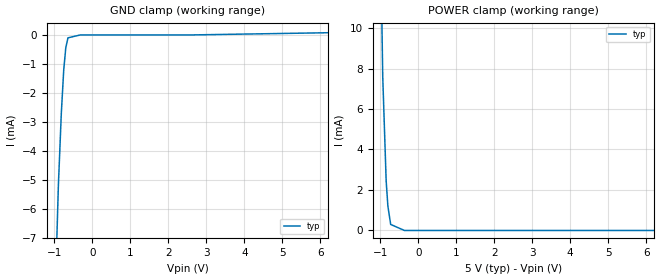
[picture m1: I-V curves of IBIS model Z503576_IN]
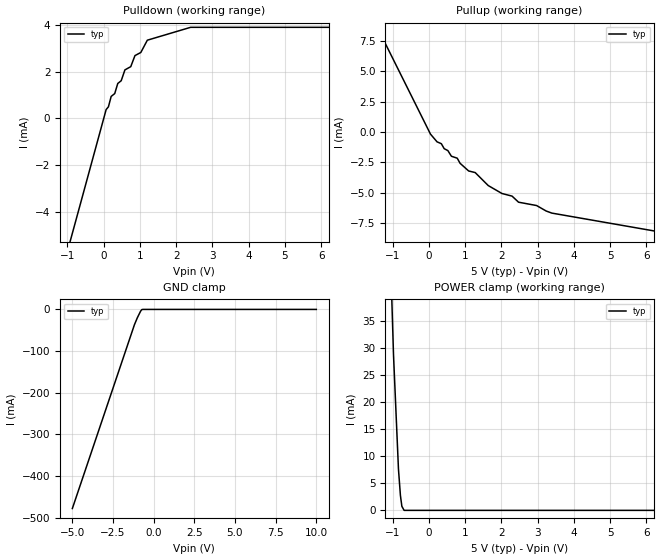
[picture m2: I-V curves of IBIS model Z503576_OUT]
| YOU ARE ONLY AUTHORIZED TO USE THIS SOFTWARE
| ACCORDING TO LICENSOR'S LICENSE RESTRICTIONS.
[IBIS Ver] 3.1
[File Name] mc14093bcl.ibs
[File Rev] 2.0
[Source] Measured and created by ICX Technology
[Date] Friday 7/14/00 9:07:53 AM
[Copyright]
| (C) COPYRIGHT 1993-2000
| MENTOR GRAPHICS CORPORATION
| ICX STANDARD LIBRARY, ICX PROJECT MODELING,
| ICX CUSTOM MODELING, ICX VENDOR MODEL
| ALL RIGHTS RESERVED.
| THE FOLLOWING ARE TRADEMARKS OR SERVICE MARKS OF
| MENTOR GRAPHICS CORPORATION:ICX (R), ICX STANDARD
| LIBRARY(R), ICX PROJECT MODELING(R), ICX CUSTOM
| MODELING(R), qualityIBIS(TM), MODELVIEWER(TM),
| AND MODELEDITOR(TM)
| ALL COPIES OF SOFTWARE, INCLUDING BUT NOT LIMITED TO
| ANY MODIFICATIONS, ENHANCEMENTS OR DERIVATIVE WORKS,
| MUST CONTAIN ALL MENTOR GRAPHICS CORPORATION'S
| NOTICES AND LEGENDS, INCLUDING THOSE EMBEDDED IN
| SOFTWARE AND THOSE AFFIXED TO SOFTWARE MEDIUM
| AND CONTAINER, AS RECEIVED FROM MENTOR GRAPHICS
| CORPORATION.
|  ZAP Model Builder 2.7
[Component] MC14093BCL
[Manufacturer] OnSemiconductor
[Package]
| variable   typ   min   max
R_pkg  .21ohms NA NA
L_pkg  4.543nH NA NA
C_pkg  1.8pF NA NA
[Pin] signal_name  model_name  R_pin  L_pin C_pin
1 IN1A Z503576_IN .22 6.757n 2.434p
2 IN2A Z503576_IN .212 4.757n 1.941p
3 OUTA Z503576_OUT .204 3.257n 1.448p
4 OUTB Z503576_OUT .196 2.257n .955p
5 IN1B Z503576_IN .204 3.257n 1.448p
6 IN2B Z503576_IN .212 4.757n 1.941p
7 VSS POWER .22 6.757n 2.434p
8 IN1C Z503576_IN .22 6.757n 2.434p
9 IN2C Z503576_IN .212 4.757n 1.941p
10 OUTC Z503576_OUT .204 3.257n 1.448p
11 OUTD Z503576_OUT .196 2.257n .955p
12 IN1D Z503576_IN .204 3.257n 1.448p
13 IN2D Z503576_IN .212 4.757n 1.941p
14 VDD POWER .22 6.757n 2.434p
| Models and submodels in the file (2): Z503576_IN (Input), Z503576_OUT (Output)
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| (C) COPYRIGHT 1993-2000
| MENTOR GRAPHICS CORPORATION
| ICX STANDARD LIBRARY, ICX PROJECT MODELING,
| ICX CUSTOM MODELING, ICX VENDOR MODEL
| ALL RIGHTS RESERVED.
| THE FOLLOWING ARE TRADEMARKS OR SERVICE MARKS OF
| MENTOR GRAPHICS CORPORATION:ICX (R), ICX STANDARD
| LIBRARY(R), ICX PROJECT MODELING(R), ICX CUSTOM
| MODELING(R), qualityIBIS(TM), MODELVIEWER(TM),
| AND MODELEDITOR(TM)
| ALL COPIES OF SOFTWARE, INCLUDING BUT NOT LIMITED TO
| ANY MODIFICATIONS, ENHANCEMENTS OR DERIVATIVE WORKS,
| MUST CONTAIN ALL MENTOR GRAPHICS CORPORATION'S
| NOTICES AND LEGENDS, INCLUDING THOSE EMBEDDED IN
| SOFTWARE AND THOSE AFFIXED TO SOFTWARE MEDIUM
| AND CONTAINER, AS RECEIVED FROM MENTOR GRAPHICS
| CORPORATION.
| Model Application Version 1.89 2/18/99.
[Model] Z503576_IN
Model_type Input
Vinl = 1.500V
Vinh = 3.500V
C_comp 4.000pF NA NA
| variable typ   min   max
[Voltage Range] 5.000V NA NA
[GND Clamp Reference] 0.000V NA NA
[POWER Clamp Reference] 5.000V NA NA
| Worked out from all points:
|   GND clamp passes 1 mA (typ) near -0.74 V on its own axis
|   POWER clamp passes 1 mA (typ) near -0.78 V on its own axis
[GND Clamp]
-5V       -263.8mA   NA         NA
-1.035V   -11.43mA   NA         NA
-898mV    -5.197mA   NA         NA
-820.3mV  -2.691mA   NA         NA
-757.8mV  -1.215mA   NA         NA
-703.1mV  -434.6uA   NA         NA
-646.2mV  -88.15uA   NA         NA
-323.1mV  12.08uA    NA         NA
2.582V    12.08uA    NA         NA
10V       169.5uA    NA         NA
[POWER Clamp]
-5V       711.9mA    NA         NA
-1.044V   20.55mA    NA         NA
-936mV    7.595mA    NA         NA
-846mV    2.459mA    NA         NA
-801mV    1.21mA     NA         NA
-727mV    297.5uA    NA         NA
-363.5mV  0A         NA         NA
10V       0A         NA         NA
| (C) COPYRIGHT 1993-2000
| MENTOR GRAPHICS CORPORATION
| ICX STANDARD LIBRARY, ICX PROJECT MODELING,
| ICX CUSTOM MODELING, ICX VENDOR MODEL
| ALL RIGHTS RESERVED.
| THE FOLLOWING ARE TRADEMARKS OR SERVICE MARKS OF
| MENTOR GRAPHICS CORPORATION:ICX (R), ICX STANDARD
| LIBRARY(R), ICX PROJECT MODELING(R), ICX CUSTOM
| MODELING(R), qualityIBIS(TM), MODELVIEWER(TM),
| AND MODELEDITOR(TM)
| ALL COPIES OF SOFTWARE, INCLUDING BUT NOT LIMITED TO
| ANY MODIFICATIONS, ENHANCEMENTS OR DERIVATIVE WORKS,
| MUST CONTAIN ALL MENTOR GRAPHICS CORPORATION'S
| NOTICES AND LEGENDS, INCLUDING THOSE EMBEDDED IN
| SOFTWARE AND THOSE AFFIXED TO SOFTWARE MEDIUM
| AND CONTAINER, AS RECEIVED FROM MENTOR GRAPHICS
| CORPORATION.
| Model Application Version 1.89 2/18/99.
[Model] Z503576_OUT
Model_type Output
Vref=0.000V
Rref=500.0Mohms
Cref=50.00pF
Vmeas=2.500V
C_comp 8.000pF NA NA
| variable typ   min   max
[Voltage Range] 5.000V NA NA
[POWER Clamp Reference] 5.000V NA NA
[Pullup Reference] 5.000V NA NA
[Pulldown Reference] 0.000V NA NA
[GND Clamp Reference] 0.000V NA NA
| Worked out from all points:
|   slope of the pulldown table from 0 to 0.75 V, typ, clamps not added: 335 ohm
|   slope of the pullup table from 0 to 0.75 V, typ, clamps not added: 340 ohm
|   GND clamp passes 1 mA (typ) near -0.74 V on its own axis
|   POWER clamp passes 1 mA (typ) near -0.75 V on its own axis
[GND Clamp]
-5V       -477.9mA   NA         NA
-1.182V   -36.65mA   NA         NA
-1.001V   -19.79mA   NA         NA
-800.6mV  -4.015mA   NA         NA
-727mV    -415.1uA   NA         NA
-654.3mV  0A         NA         NA
10V       0A         NA         NA
[Pulldown]
-5V       -28.48mA   NA         NA
68.24mV   379.9uA    NA         NA
305mV     1.066mA    NA         NA
388.8mV   1.498mA    NA         NA
483.9mV   1.617mA    NA         NA
585.9mV   2.081mA    NA         NA
747mV     2.22mA     NA         NA
863.2mV   2.694mA    NA         NA
1.025V    2.828mA    NA         NA
1.204V    3.354mA    NA         NA
2.397V    3.906mA    NA         NA
10V       3.906mA    NA         NA
[Pullup]
-5V       30.01mA    NA         NA
43mV      -166.5uA   NA         NA
620mV     -1.986mA   NA         NA
781mV     -2.147mA   NA         NA
1.095V    -3.196mA   NA         NA
1.276V    -3.329mA   NA         NA
1.636V    -4.397mA   NA         NA
2.293V    -5.265mA   NA         NA
2.471V    -5.764mA   NA         NA
2.969V    -6.039mA   NA         NA
3.388V    -6.66mA    NA         NA
10V       -10.1mA    NA         NA
[POWER Clamp]
-5V       1.085A     NA         NA
-1.055V   45.94mA    NA         NA
-977mV    28.79mA    NA         NA
-840mV    7.632mA    NA         NA
-786mV    2.752mA    NA         NA
-746mV    745.8uA    NA         NA
-683.8mV  0A         NA         NA
10V       0A         NA         NA
[Ramp]
| variable typ min max
dV/dt_r 2.654/30.20n NA NA
dV/dt_f 2.654/34.04n NA NA
R_load = 2.500kOhms
